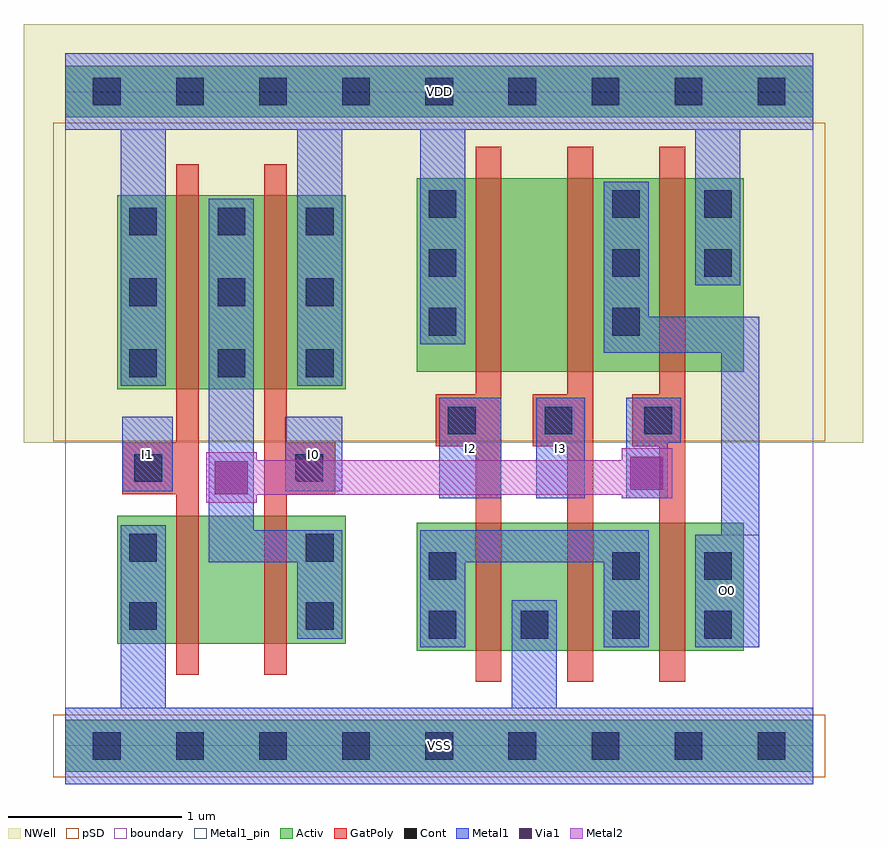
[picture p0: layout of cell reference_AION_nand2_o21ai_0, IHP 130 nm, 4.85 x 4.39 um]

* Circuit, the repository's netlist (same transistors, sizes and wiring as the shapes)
* NGSPICE file created from reference_AION_nand2_o21ai_0.ext - technology: ihp-sg13g2

.subckt reference_AION_nand2_o21ai_0 I0 I1 I2 I3 O0 VDD VSS
X0 VSS I2 a_406_110# VSS sg13_lv_nmos ad=0.1406p pd=1.12u as=0.2516p ps=2.16u w=0.74u l=0.15u
X1 a_504_432# I2 VDD VDD sg13_lv_pmos ad=0.2128p pd=1.5u as=0.3808p ps=2.92u w=1.12u l=0.15u
X2 O0 a_154_412# a_406_110# VSS sg13_lv_nmos ad=0.2516p pd=2.16u as=0.1406p ps=1.12u w=0.74u l=0.15u
X3 a_154_118# I1 VSS VSS sg13_lv_nmos ad=0.1406p pd=1.12u as=0.2516p ps=2.16u w=0.74u l=0.13u
X4 a_154_412# I0 a_154_118# VSS sg13_lv_nmos ad=0.2516p pd=2.16u as=0.1406p ps=1.12u w=0.74u l=0.13u
X5 VDD a_154_412# O0 VDD sg13_lv_pmos ad=0.3808p pd=2.92u as=0.2128p ps=1.5u w=1.12u l=0.15u
X6 a_154_412# I1 VDD VDD sg13_lv_pmos ad=0.2128p pd=1.5u as=0.3808p ps=2.92u w=1.12u l=0.13u
X7 VDD I0 a_154_412# VDD sg13_lv_pmos ad=0.3808p pd=2.92u as=0.2128p ps=1.5u w=1.12u l=0.13u
X8 a_406_110# I3 VSS VSS sg13_lv_nmos ad=0.1406p pd=1.12u as=0.1406p ps=1.12u w=0.74u l=0.15u
X9 O0 I3 a_504_432# VDD sg13_lv_pmos ad=0.2128p pd=1.5u as=0.2128p ps=1.5u w=1.12u l=0.15u
.ends

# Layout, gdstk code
import gdstk
lib = gdstk.Library(unit=1e-6, precision=1e-09)
def R(c, l, rs):  # rectangles x0, y0, x1, y1
    for r in rs: c.add(gdstk.rectangle(r[:2], r[2:], *l))
def A(c, l, x, y, w, h, nx, ny, dx, dy):  # array of equal rectangles
    R(c, l, [(x+i*dx, y+j*dy, x+i*dx+w, y+j*dy+h) for i in range(nx) for j in range(ny)])
def P(c, l, *ps):  # polygons
    for p in ps: c.add(gdstk.Polygon(p, *l))
Activ = (1, 0)
GatPoly = (5, 0)
Cont = (6, 0)
Metal1 = (8, 0)
Metal1_pin = (8, 2)
Metal2 = (10, 0)
pSD = (14, 0)
Via1 = (19, 0)
NWell = (31, 0)
boundary = (189, 4)

reference_aion_nand2_o21 = lib.new_cell('reference_AION_nand2_o21ai_0')
R(reference_aion_nand2_o21, Activ, [(0,-0.15,4.32,0.15), (2.03,0.55,3.92,1.29), (0.3,0.59,1.62,1.33), (0.3,2.06,1.62,3.18), (2.03,2.16,3.92,3.28), (0,3.63,4.32,3.93)])
P(reference_aion_nand2_o21, GatPoly, [(0.64,0.41),(0.64,1.455),(0.33,1.455),(0.33,1.755),(0.64,1.755),(0.64,3.36),(0.77,3.36),(0.77,0.41)],
  [(1.15,0.41),(1.15,3.36),(1.28,3.36),(1.28,1.755),(1.56,1.755),(1.56,1.455),(1.28,1.455),(1.28,0.41)],
  [(2.37,0.37),(2.37,1.73),(2.14,1.73),(2.14,2.03),(2.37,2.03),(2.37,3.46),(2.52,3.46),(2.52,0.37)],
  [(2.9,0.37),(2.9,1.73),(2.7,1.73),(2.7,2.03),(2.9,2.03),(2.9,3.46),(3.05,3.46),(3.05,0.37)],
  [(3.43,0.37),(3.43,1.73),(3.275,1.73),(3.275,2.03),(3.43,2.03),(3.43,3.46),(3.58,3.46),(3.58,0.37)])
A(reference_aion_nand2_o21, Cont, 0.16, -0.08, 0.16, 0.16, 9, 2, 0.48, 3.78)
A(reference_aion_nand2_o21, Cont, 2.1, 0.62, 0.16, 0.16, 4, 1, 0.53, 0)
A(reference_aion_nand2_o21, Cont, 0.37, 2.13, 0.16, 0.16, 3, 3, 0.51, 0.41)
A(reference_aion_nand2_o21, Cont, 2.1, 2.37, 0.16, 0.16, 1, 3, 0, 0.34)
A(reference_aion_nand2_o21, Cont, 3.16, 2.37, 0.16, 0.16, 1, 3, 0, 0.34)
R(reference_aion_nand2_o21, Cont, [(0.37,0.67,0.53,0.83), (1.39,0.67,1.55,0.83), (2.1,0.96,2.26,1.12), (3.16,0.96,3.32,1.12), (3.69,0.96,3.85,1.12), (0.37,1.065,0.53,1.225), (1.39,1.065,1.55,1.225), (0.4,1.525,0.56,1.685), (1.33,1.525,1.49,1.685), (2.21,1.8,2.37,1.96), (2.77,1.8,2.93,1.96), (3.345,1.8,3.505,1.96), (3.69,2.71,3.85,2.87), (3.69,3.05,3.85,3.21)])
R(reference_aion_nand2_o21, Metal1, [(2.16,1.43,2.52,2.01), (2.72,1.43,3,2.01), (0.33,1.47,0.62,1.9), (1.27,1.47,1.6,1.9)])
P(reference_aion_nand2_o21, Metal1, [(2.05,0.57),(2.05,1.245),(3.37,1.245),(3.37,0.57),(3.11,0.57),(3.11,1.06),(2.31,1.06),(2.31,0.57)],
  [(0,-0.22),(0,0.22),(0.32,0.22),(0.32,1.275),(0.58,1.275),(0.58,0.22),(2.58,0.22),(2.58,0.84),(2.84,0.84),(2.84,0.22),(4.32,0.22),(4.32,-0.22)],
  [(3.24,1.43),(3.24,2.01),(3.555,2.01),(3.555,1.75),(3.48,1.75),(3.48,1.43)],
  [(1.34,0.62),(1.34,1.06),(0.83,1.06),(0.83,3.16),(1.09,3.16),(1.09,1.245),(1.6,1.245),(1.6,0.62)],
  [(3.64,0.57),(3.64,1.22),(3.79,1.22),(3.79,2.27),(3.11,2.27),(3.11,3.26),(3.37,3.26),(3.37,2.48),(4.01,2.48),(4.01,0.57)],
  [(0.32,2.08),(0.32,3.56),(0,3.56),(0,4),(4.32,4),(4.32,3.56),(3.9,3.56),(3.9,2.66),(3.64,2.66),(3.64,3.56),(2.31,3.56),(2.31,2.32),(2.05,2.32),(2.05,3.56),(1.6,3.56),(1.6,2.08),(1.34,2.08),(1.34,3.56),(0.58,3.56),(0.58,2.08)])
R(reference_aion_nand2_o21, Metal1_pin, [(0,-0.22,4.32,0.22), (3.64,0.57,4.01,1.22), (2.16,1.43,2.52,2.01), (2.72,1.43,3,2.01), (0.33,1.47,0.62,1.9), (1.27,1.47,1.6,1.9), (0,3.56,4.32,4)])
P(reference_aion_nand2_o21, Metal2, [(0.815,1.405),(0.815,1.695),(1.105,1.695),(1.105,1.65),(3.215,1.65),(3.215,1.72),(3.505,1.72),(3.505,1.43),(3.215,1.43),(3.215,1.45),(1.105,1.45),(1.105,1.405)])
R(reference_aion_nand2_o21, pSD, [(-0.07,-0.18,4.39,0.18), (-0.07,1.76,4.39,3.6)])
R(reference_aion_nand2_o21, Via1, [(0.865,1.455,1.055,1.645), (3.265,1.48,3.455,1.67)])
R(reference_aion_nand2_o21, NWell, [(-0.24,1.75,4.61,4.17)])
R(reference_aion_nand2_o21, boundary, [(0,0,4.32,3.78)])
reference_aion_nand2_o21.add(gdstk.Label('I0', (1.435,1.685), layer=8, texttype=25))
reference_aion_nand2_o21.add(gdstk.Label('I1', (0.475,1.685), layer=8, texttype=25))
reference_aion_nand2_o21.add(gdstk.Label('I2', (2.34,1.72), layer=8, texttype=25))
reference_aion_nand2_o21.add(gdstk.Label('I3', (2.86,1.72), layer=8, texttype=25))
reference_aion_nand2_o21.add(gdstk.Label('O0', (3.825,0.895), layer=8, texttype=25))
reference_aion_nand2_o21.add(gdstk.Label('VDD', (2.16,3.78), layer=8, texttype=25))
reference_aion_nand2_o21.add(gdstk.Label('VSS', (2.16,0), layer=8, texttype=25))
reference_aion_nand2_o21.add(gdstk.Label('I0', (1.435,1.685), layer=8, texttype=2))
reference_aion_nand2_o21.add(gdstk.Label('I1', (0.475,1.685), layer=8, texttype=2))
reference_aion_nand2_o21.add(gdstk.Label('I2', (2.34,1.72), layer=8, texttype=2))
reference_aion_nand2_o21.add(gdstk.Label('I3', (2.86,1.72), layer=8, texttype=2))
reference_aion_nand2_o21.add(gdstk.Label('O0', (3.825,0.895), layer=8, texttype=2))
reference_aion_nand2_o21.add(gdstk.Label('VDD', (2.16,3.78), layer=8, texttype=2))
reference_aion_nand2_o21.add(gdstk.Label('VSS', (2.16,0), layer=8, texttype=2))

lib.write_gds('reference_AION_nand2_o21ai_0.gds')
